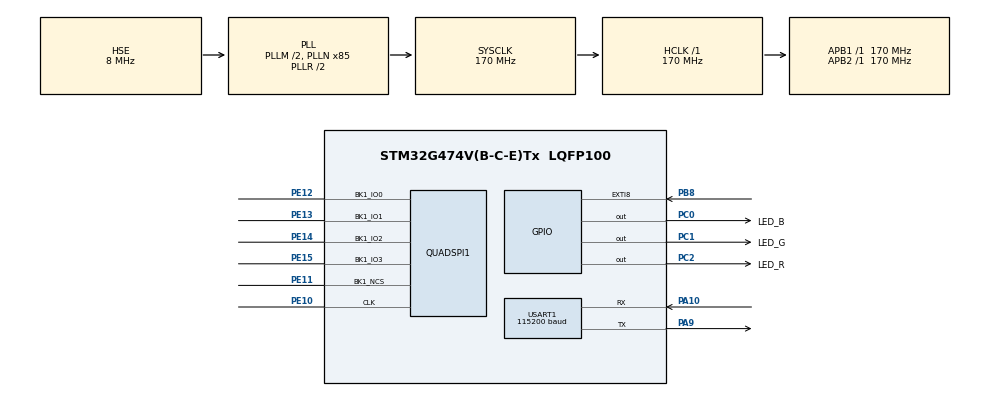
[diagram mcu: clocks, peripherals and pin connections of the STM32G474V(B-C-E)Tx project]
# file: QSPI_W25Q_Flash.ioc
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Mcu.Family=STM32G4
Mcu.Name=STM32G474V(B-C-E)Tx
Mcu.Package=LQFP100
NVIC.EXTI9_5_IRQn=true\:0\:0\:false\:false\:true\:true\:true\:true
NVIC.PriorityGroup=NVIC_PRIORITYGROUP_4
PA10.Mode=Asynchronous
PA10.Signal=USART1_RX
PA9.Mode=Asynchronous
PA9.Signal=USART1_TX
PB8-BOOT0.Signal=GPXTI8
PC0.GPIO_Label=LED_B
PC0.PinState=GPIO_PIN_SET
PC0.Signal=GPIO_Output
PC1.GPIO_Label=LED_G
PC1.PinState=GPIO_PIN_SET
PC1.Signal=GPIO_Output
PC2.GPIO_Label=LED_R
PC2.PinState=GPIO_PIN_SET
PC2.Signal=GPIO_Output
PE10.GPIO_PuPd=GPIO_NOPULL
PE10.GPIO_Speed=GPIO_SPEED_FREQ_VERY_HIGH
PE10.Mode=Single Bank 1
PE10.Signal=QUADSPI1_CLK
PE11.GPIO_PuPd=GPIO_NOPULL
PE11.GPIO_Speed=GPIO_SPEED_FREQ_VERY_HIGH
PE11.Mode=Single Bank 1
PE11.Signal=QUADSPI1_BK1_NCS
PE12.GPIO_PuPd=GPIO_NOPULL
PE12.GPIO_Speed=GPIO_SPEED_FREQ_VERY_HIGH
PE12.Mode=Single Bank 1
PE12.Signal=QUADSPI1_BK1_IO0
PE13.GPIO_PuPd=GPIO_NOPULL
PE13.GPIO_Speed=GPIO_SPEED_FREQ_VERY_HIGH
PE13.Mode=Single Bank 1
PE13.Signal=QUADSPI1_BK1_IO1
PE14.GPIO_PuPd=GPIO_NOPULL
PE14.GPIO_Speed=GPIO_SPEED_FREQ_VERY_HIGH
PE14.Mode=Single Bank 1
PE14.Signal=QUADSPI1_BK1_IO2
PE15.GPIO_PuPd=GPIO_NOPULL
PE15.GPIO_Speed=GPIO_SPEED_FREQ_VERY_HIGH
PE15.Mode=Single Bank 1
PE15.Signal=QUADSPI1_BK1_IO3
PF0-OSC_IN.Mode=HSE-External-Oscillator
PF0-OSC_IN.Signal=RCC_OSC_IN
PF1-OSC_OUT.Mode=HSE-External-Oscillator
PF1-OSC_OUT.Signal=RCC_OSC_OUT
ProjectManager.HeapSize=0x800
ProjectManager.StackSize=0x800
ProjectManager.TargetToolchain=MDK-ARM V5.32
QUADSPI1.ChipSelectHighTime=QSPI_CS_HIGH_TIME_3_CYCLE
QUADSPI1.ClockMode=QSPI_CLOCK_MODE_0
QUADSPI1.ClockPrescaler=1
QUADSPI1.DualFlash=QSPI_DUALFLASH_DISABLE
QUADSPI1.FifoThreshold=4
QUADSPI1.FlashID=QSPI_FLASH_ID_1
QUADSPI1.FlashSize=22
QUADSPI1.SampleShifting=QSPI_SAMPLE_SHIFTING_NONE
RCC.ADC12Freq_Value=170000000
RCC.ADC345Freq_Value=170000000
RCC.AHBFreq_Value=170000000
RCC.APB1Freq_Value=170000000
RCC.APB1TimFreq_Value=170000000
RCC.APB2Freq_Value=170000000
RCC.APB2TimFreq_Value=170000000
RCC.CortexFreq_Value=170000000
RCC.EXTERNAL_CLOCK_VALUE=12288000
RCC.FLatency=FLASH_LATENCY_4
RCC.HCLKFreq_Value=170000000
RCC.HSE_VALUE=8000000
RCC.HSI48_VALUE=48000000
RCC.HSI_VALUE=16000000
RCC.LSE_VALUE=32768
RCC.PLLM=RCC_PLLM_DIV2
RCC.PLLN=85
RCC.PLLSourceVirtual=RCC_PLLSOURCE_HSE
RCC.PREFETCH_ENABLE=1
RCC.PWR_Regulator_Voltage_Scale=PWR_REGULATOR_VOLTAGE_SCALE1_BOOST
RCC.SYSCLKFreq_VALUE=170000000
RCC.SYSCLKSource=RCC_SYSCLKSOURCE_PLLCLK
RCC.USBFreq_Value=170000000
RCC.VCOOutputFreq_Value=340000000
TIM2.AutoReloadPreload=TIM_AUTORELOAD_PRELOAD_DISABLE
TIM2.ClockDivision=TIM_CLOCKDIVISION_DIV1
TIM2.CounterMode=TIM_COUNTERMODE_UP
TIM2.Dithering=Disable
TIM2.PeriodNoDither=4294967295
TIM2.Prescaler=16999
TIM2.TIM_MasterOutputTrigger=TIM_TRGO_RESET
TIM2.TIM_MasterSlaveMode=TIM_MASTERSLAVEMODE_DISABLE
USART1.AutoBaudRateEnableParam=UART_ADVFEATURE_AUTOBAUDRATE_DISABLE
USART1.BaudRate=115200
USART1.ClockPrescaler=PRESCALER_DIV1
USART1.DMADisableonRxErrorParam=ADVFEATURE_DMA_ENABLEONRXERROR
USART1.DataInvertParam=ADVFEATURE_DATAINV_DISABLE
USART1.FIFOMode=FIFOMODE_DISABLE
USART1.MSBFirstParam=ADVFEATURE_MSBFIRST_DISABLE
USART1.Mode=MODE_TX_RX
USART1.OneBitSampling=UART_ONE_BIT_SAMPLE_DISABLE
USART1.OverSampling=UART_OVERSAMPLING_16
USART1.OverrunDisableParam=ADVFEATURE_OVERRUN_ENABLE
USART1.Parity=PARITY_NONE
USART1.RXFIFOThreshold=RXFIFO_THRESHOLD_1EIGHTHFULL
USART1.RxPinLevelInvertParam=ADVFEATURE_RXINV_DISABLE
USART1.StopBits=STOPBITS_1
USART1.SwapParam=ADVFEATURE_SWAP_DISABLE
USART1.TXFIFOThreshold=TXFIFO_THRESHOLD_1EIGHTHFULL
USART1.TxPinLevelInvertParam=ADVFEATURE_TXINV_DISABLE
USART1.VirtualMode-Asynchronous=VM_ASYNC
USART1.WordLength=WORDLENGTH_8B
VP_SYS_VS_DBSignals.Mode=DisableDeadBatterySignals
VP_TIM2_VS_ClockSourceINT.Mode=Internal
board=custom

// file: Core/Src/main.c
/* USER CODE BEGIN Header */
/**
  ******************************************************************************
  * @file           : main.c
  * @brief          : Main program body
  ******************************************************************************
  * @attention
  *
  * Copyright (c) 2024 STMicroelectronics.
  * All rights reserved.
  *
  * This software is licensed under terms that can be found in the LICENSE file
  * in the root directory of this software component.
  * If no LICENSE file comes with this software, it is provided AS-IS.
  *
  ******************************************************************************
  */
/* USER CODE END Header */
#include "main.h"
#include "quadspi.h"
#include "tim.h"
#include "usart.h"
#include "gpio.h"

/* USER CODE BEGIN Includes */
#include <stdio.h>
#include <sfud.h>
/* USER CODE END Includes */

/* USER CODE BEGIN PV */
void sfud_demo(uint32_t addr, size_t size, uint8_t *data);

#define SFUD_DEMO_TEST_BUFFER_SIZE                     1024
static uint8_t sfud_demo_test_buf[SFUD_DEMO_TEST_BUFFER_SIZE];
/* USER CODE END PV */

void SystemClock_Config(void);

/* USER CODE BEGIN 0 */
 int fputc(int ch, FILE *f)
{
	HAL_UART_Transmit(&huart1, (uint8_t *)&ch, 1, 0xFFFF);
	return ch;
}
/* USER CODE END 0 */

int main(void)
{

  /* MCU Configuration--------------------------------------------------------*/

  /* Reset of all peripherals, Initializes the Flash interface and the Systick. */
  HAL_Init();

  /* Configure the system clock */
  SystemClock_Config();

  /* Initialize all configured peripherals */
  MX_GPIO_Init();
  MX_QUADSPI1_Init();
  MX_USART1_UART_Init();
  MX_TIM2_Init();
  /* USER CODE BEGIN 2 */
    if (sfud_init() == SFUD_SUCCESS) {
        /* enable qspi fast read mode, set four data lines width */
        sfud_qspi_fast_read_enable(sfud_get_device(SFUD_W25_DEVICE_INDEX), 4);
        sfud_demo(0, sizeof(sfud_demo_test_buf), sfud_demo_test_buf);
    } else {
        HAL_GPIO_WritePin(LED_R_GPIO_Port, LED_R_Pin, GPIO_PIN_RESET);
    }
  /* USER CODE END 2 */

  /* Infinite loop */
  while (1)
  {

  }
}

void SystemClock_Config(void)
{
  RCC_OscInitTypeDef RCC_OscInitStruct = {0};
  RCC_ClkInitTypeDef RCC_ClkInitStruct = {0};

  /** Configure the main internal regulator output voltage
  */
  HAL_PWREx_ControlVoltageScaling(PWR_REGULATOR_VOLTAGE_SCALE1_BOOST);

  /** Initializes the RCC Oscillators according to the specified parameters
  * in the RCC_OscInitTypeDef structure.
  */
  RCC_OscInitStruct.OscillatorType = RCC_OSCILLATORTYPE_HSE;
  RCC_OscInitStruct.HSEState = RCC_HSE_ON;
  RCC_OscInitStruct.PLL.PLLState = RCC_PLL_ON;
  RCC_OscInitStruct.PLL.PLLSource = RCC_PLLSOURCE_HSE;
  RCC_OscInitStruct.PLL.PLLM = RCC_PLLM_DIV2;
  RCC_OscInitStruct.PLL.PLLN = 85;
  RCC_OscInitStruct.PLL.PLLP = RCC_PLLP_DIV2;
  RCC_OscInitStruct.PLL.PLLQ = RCC_PLLQ_DIV2;
  RCC_OscInitStruct.PLL.PLLR = RCC_PLLR_DIV2;
  if (HAL_RCC_OscConfig(&RCC_OscInitStruct) != HAL_OK)
  {
    Error_Handler();
  }

  /** Initializes the CPU, AHB and APB buses clocks
  */
  RCC_ClkInitStruct.ClockType = RCC_CLOCKTYPE_HCLK|RCC_CLOCKTYPE_SYSCLK
                              |RCC_CLOCKTYPE_PCLK1|RCC_CLOCKTYPE_PCLK2;
  RCC_ClkInitStruct.SYSCLKSource = RCC_SYSCLKSOURCE_PLLCLK;
  RCC_ClkInitStruct.AHBCLKDivider = RCC_SYSCLK_DIV1;
  RCC_ClkInitStruct.APB1CLKDivider = RCC_HCLK_DIV1;
  RCC_ClkInitStruct.APB2CLKDivider = RCC_HCLK_DIV1;

  if (HAL_RCC_ClockConfig(&RCC_ClkInitStruct, FLASH_LATENCY_4) != HAL_OK)
  {
    Error_Handler();
  }
}

/* USER CODE BEGIN 4 */
void sfud_demo(uint32_t addr, size_t size, uint8_t *data)
{
    sfud_err result = SFUD_SUCCESS;
    extern sfud_flash *sfud_dev;
    const sfud_flash *flash = sfud_get_device(SFUD_W25_DEVICE_INDEX);
    size_t i;
    /* prepare write data */
    for (i = 0; i < size; i++)
    {
        data[i] = i;
    }
    /* erase test */
    result = sfud_erase(flash, addr, size);
    if (result == SFUD_SUCCESS)
    {
        printf("Erase the %s flash data finish. Start from 0x%08X, size is %zu.\r\n", flash->name, addr, size);
    }
    else
    {
        printf("Erase the %s flash data failed.\r\n", flash->name);
        return;
    }
    /* write test */
    result = sfud_write(flash, addr, size, data);
    if (result == SFUD_SUCCESS)
    {
        printf("Write the %s flash data finish. Start from 0x%08X, size is %zu.\r\n", flash->name, addr, size);
    }
    else
    {
        printf("Write the %s flash data failed.\r\n", flash->name);
        return;
    }
    /* read test */
    result = sfud_read(flash, addr, size, data);
    if (result == SFUD_SUCCESS)
    {
        printf("Read the %s flash data success. Start from 0x%08X, size is %zu. The data is:\r\n", flash->name, addr, size);
        printf("Offset (h) 00 01 02 03 04 05 06 07 08 09 0A 0B 0C 0D 0E 0F\r\n");
        for (i = 0; i < size; i++)
        {
            if (i % 16 == 0)
            {
                printf("[%08X] ", addr + i);
            }
            printf("%02X ", data[i]);
            if (((i + 1) % 16 == 0) || i == size - 1)
            {
                printf("\r\n");
            }
        }
        printf("\r\n");
    }
    else
    {
        printf("Read the %s flash data failed.\r\n", flash->name);
    }
    /* data check */
    for (i = 0; i < size; i++)
    {
        if (data[i] != i % 256)
        {
            printf("Read and check write data has an error. Write the %s flash data failed.\r\n", flash->name);
            break;
        }
    }
    if (i == size)
    {
        printf("The %s flash test is success.\r\n", flash->name);
        HAL_GPIO_WritePin(LED_G_GPIO_Port, LED_G_Pin, GPIO_PIN_RESET);
    }
}
/* USER CODE END 4 */

void Error_Handler(void)
{
  __disable_irq();
  while (1)
  {
  }
}
